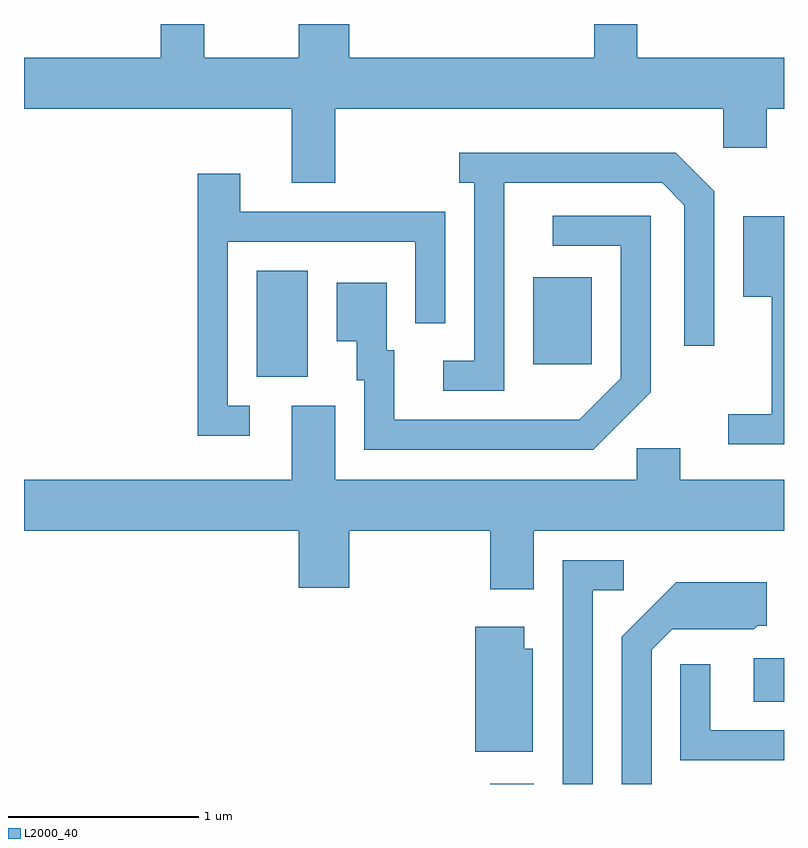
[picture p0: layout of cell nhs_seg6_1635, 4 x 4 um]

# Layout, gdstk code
import gdstk
lib = gdstk.Library(unit=1e-6, precision=1e-09)
def R(c, l, rs):  # rectangles x0, y0, x1, y1
    for r in rs: c.add(gdstk.rectangle(r[:2], r[2:], *l))
def P(c, l, *ps):  # polygons
    for p in ps: c.add(gdstk.Polygon(p, *l))
L2000_40 = (2000, 40)

nhs_seg6_1635 = lib.new_cell('nhs_seg6_1635')
R(nhs_seg6_1635, L2000_40, [(236.066,1644.162,236.294,1644.164), (237.451,1644.596,237.611,1644.824), (234.836,1646.306,235.104,1646.864), (236.291,1646.371,236.599,1646.829)])
P(nhs_seg6_1635, L2000_40, [(235.249,1647.716),(237.291,1647.716),(237.291,1647.511),(237.519,1647.511),(237.519,1647.716),(237.611,1647.716),(237.611,1647.984),(236.839,1647.984),(236.839,1648.162),(236.611,1648.162),(236.611,1647.984),(235.324,1647.984),(235.324,1648.162),(235.056,1648.162),(235.056,1647.984),(234.559,1647.984),(234.559,1648.162),(234.331,1648.162),(234.331,1647.984),(233.611,1647.984),(233.611,1647.716),(235.021,1647.716),(235.021,1647.326),(235.249,1647.326)],
  [(236.139,1647.326),(236.969,1647.326),(237.086,1647.209),(237.086,1646.468),(237.244,1646.468),(237.244,1647.282),(237.042,1647.484),(235.903,1647.484),(235.903,1647.326),(235.981,1647.326),(235.981,1646.389),(235.818,1646.389),(235.818,1646.231),(236.139,1646.231)],
  [(234.798,1646.154),(234.684,1646.154),(234.684,1647.016),(235.671,1647.016),(235.671,1646.588),(235.829,1646.588),(235.829,1647.174),(234.749,1647.174),(234.749,1647.374),(234.526,1647.374),(234.526,1645.996),(234.798,1645.996)],
  [(236.909,1646.224),(236.909,1647.154),(236.393,1647.154),(236.393,1646.996),(236.751,1646.996),(236.751,1646.297),(236.534,1646.079),(235.559,1646.079),(235.559,1646.444),(235.519,1646.444),(235.519,1646.799),(235.256,1646.799),(235.256,1646.491),(235.361,1646.491),(235.361,1646.286),(235.401,1646.286),(235.401,1645.921),(236.607,1645.921)],
  [(237.611,1647.149),(237.396,1647.149),(237.396,1646.726),(237.546,1646.726),(237.546,1646.109),(237.318,1646.109),(237.318,1645.951),(237.611,1645.951)],
  [(236.294,1645.496),(237.611,1645.496),(237.611,1645.764),(237.064,1645.764),(237.064,1645.929),(236.836,1645.929),(236.836,1645.764),(235.249,1645.764),(235.249,1646.154),(235.021,1646.154),(235.021,1645.764),(233.611,1645.764),(233.611,1645.496),(235.056,1645.496),(235.056,1645.196),(235.324,1645.196),(235.324,1645.496),(236.066,1645.496),(236.066,1645.186),(236.294,1645.186)],
  [(236.604,1645.181),(236.768,1645.181),(236.768,1645.339),(236.446,1645.339),(236.446,1644.162),(236.604,1644.162)],
  [(236.914,1644.869),(237.022,1644.976),(237.452,1644.976),(237.472,1644.996),(237.519,1644.996),(237.519,1645.224),(237.044,1645.224),(236.756,1644.937),(236.756,1644.162),(236.914,1644.162)],
  [(236.289,1644.874),(236.244,1644.874),(236.244,1644.989),(235.986,1644.989),(235.986,1644.331),(236.289,1644.331)],
  [(237.611,1644.444),(237.224,1644.444),(237.224,1644.793),(237.066,1644.793),(237.066,1644.286),(237.611,1644.286)])

lib.write_gds('nhs_seg6_1635.gds')
